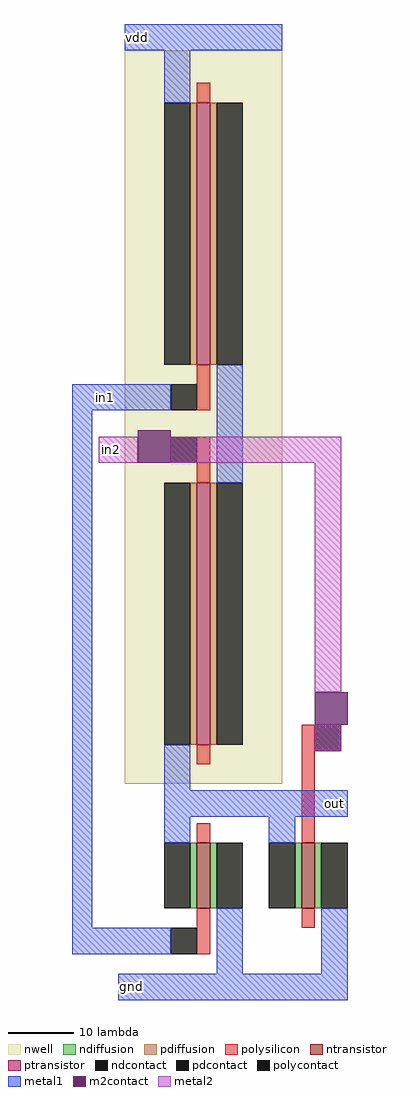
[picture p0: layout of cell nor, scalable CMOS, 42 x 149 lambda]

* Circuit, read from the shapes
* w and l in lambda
.subckt nor gnd in1 in2 out vdd
M1 gnd in1 out VSUBS nfet w=10 l=2
M2 gnd in2 out VSUBS nfet w=10 l=2
M3 n1 in2 out n2 pfet w=40 l=2
M4 n1 in1 vdd n2 pfet w=40 l=2
.ends

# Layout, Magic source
magic
tech scmos
<< nwell >>
rect -6 19 18 131
<< ntransistor >>
rect 5 0 7 10
rect 21 0 23 10
<< ptransistor >>
rect 5 83 7 123
rect 5 25 7 65
<< ndiffusion >>
rect 4 0 5 10
rect 7 0 8 10
rect 20 0 21 10
rect 23 0 24 10
<< pdiffusion >>
rect 4 83 5 123
rect 7 83 8 123
rect 4 25 5 65
rect 7 25 8 65
<< ndcontact >>
rect 0 0 4 10
rect 8 0 12 10
rect 16 0 20 10
rect 24 0 28 10
<< pdcontact >>
rect 0 83 4 123
rect 8 83 12 123
rect 0 25 4 65
rect 8 25 12 65
<< polysilicon >>
rect 5 123 7 126
rect 5 76 7 83
rect 5 65 7 72
rect 5 22 7 25
rect 5 10 7 13
rect 21 10 23 28
rect 5 -7 7 0
rect 21 -3 23 0
<< polycontact >>
rect 1 76 5 80
rect 1 68 5 72
rect 23 24 27 28
rect 1 -7 5 -3
<< metal1 >>
rect -6 131 18 135
rect 0 123 4 131
rect -14 76 1 80
rect -14 -3 -11 76
rect 8 65 12 83
rect 0 18 4 25
rect 0 14 28 18
rect 0 10 4 14
rect 16 10 20 14
rect -14 -7 1 -3
rect 8 -10 12 0
rect 24 -10 28 0
rect -7 -14 28 -10
<< m2contact >>
rect -4 68 1 73
rect 23 28 28 33
<< metal2 >>
rect -10 68 -4 72
rect 1 68 27 72
rect 23 33 27 68
rect 23 24 27 28
<< labels >>
rlabel metal1 -6 -13 -4 -11 1 gnd
rlabel metal1 -5 132 -3 134 5 vdd
rlabel metal2 -9 69 -7 71 1 in2
rlabel metal1 25 15 27 17 7 out
rlabel metal1 -10 77 -8 79 3 in1
<< end >>
